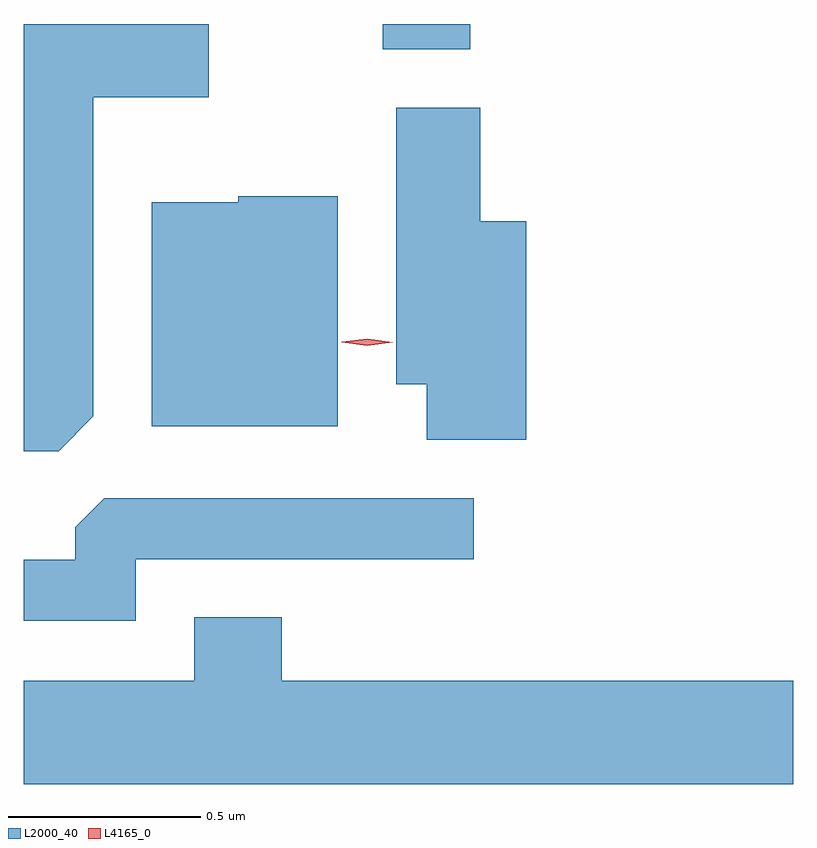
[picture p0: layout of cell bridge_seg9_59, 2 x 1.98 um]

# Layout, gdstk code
import gdstk
lib = gdstk.Library(unit=1e-6, precision=1e-09)
def R(c, l, rs):  # rectangles x0, y0, x1, y1
    for r in rs: c.add(gdstk.rectangle(r[:2], r[2:], *l))
def P(c, l, *ps):  # polygons
    for p in ps: c.add(gdstk.Polygon(p, *l))
L2000_40 = (2000, 40)
L4165_0 = (4165, 0)

bridge_seg9_59 = lib.new_cell('bridge_seg9_59')
R(bridge_seg9_59, L2000_40, [(1671.931,1998.166,1672.159,1998.232)])
P(bridge_seg9_59, L2000_40, [(1671.179,1997.212),(1671.179,1998.041),(1671.479,1998.041),(1671.479,1998.232),(1670.998,1998.232),(1670.998,1997.121),(1671.089,1997.121)],
  [(1672.304,1997.719),(1672.184,1997.719),(1672.184,1998.014),(1671.966,1998.014),(1671.966,1997.296),(1672.046,1997.296),(1672.046,1997.151),(1672.304,1997.151)],
  [(1671.814,1997.784),(1671.555,1997.784),(1671.555,1997.769),(1671.331,1997.769),(1671.331,1997.186),(1671.814,1997.186)],
  [(1671.289,1996.841),(1672.168,1996.841),(1672.168,1996.999),(1671.207,1996.999),(1671.131,1996.924),(1671.131,1996.839),(1670.998,1996.839),(1670.998,1996.681),(1671.289,1996.681)],
  [(1671.441,1996.689),(1671.441,1996.524),(1670.998,1996.524),(1670.998,1996.256),(1672.998,1996.256),(1672.998,1996.524),(1671.669,1996.524),(1671.669,1996.689)])
P(bridge_seg9_59, L4165_0, [(1671.891,1997.395),(1671.825,1997.405),(1671.824,1997.405),(1671.825,1997.406),(1671.891,1997.414),(1671.957,1997.404),(1671.957,1997.404),(1671.957,1997.404)])

lib.write_gds('bridge_seg9_59.gds')
